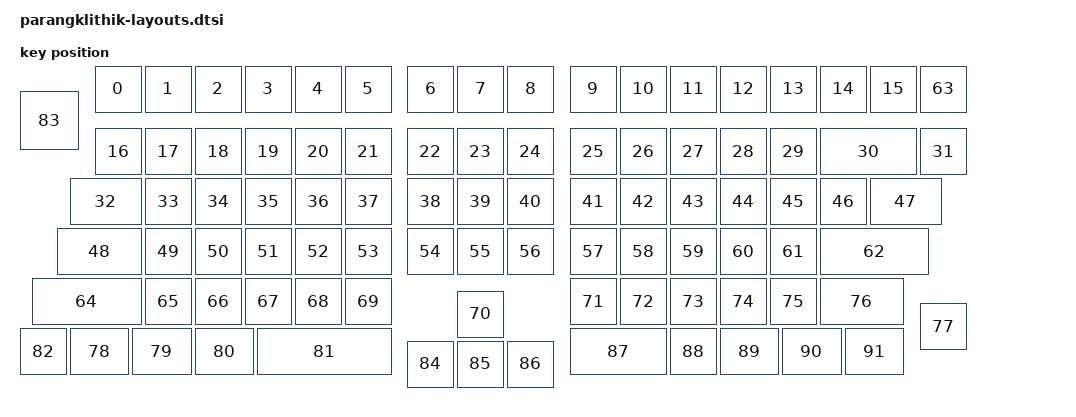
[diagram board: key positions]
#include <physical_layouts.dtsi>

/ {
    physical_layout_parangklithik: physical_layout_parangklithik {
        compatible = "zmk,physical-layout";
        display-name = "parangklithik";
        keys  //                     w   h    x    y     rot    rx    ry
            = <&key_physical_attrs 100 100  150    0       0     0     0>
            , <&key_physical_attrs 100 100  250    0       0     0     0>
            , <&key_physical_attrs 100 100  350    0       0     0     0>
            , <&key_physical_attrs 100 100  450    0       0     0     0>
            , <&key_physical_attrs 100 100  550    0       0     0     0>
            , <&key_physical_attrs 100 100  650    0       0     0     0>
            , <&key_physical_attrs 100 100  775    0       0     0     0>
            , <&key_physical_attrs 100 100  875    0       0     0     0>
            , <&key_physical_attrs 100 100  975    0       0     0     0>
            , <&key_physical_attrs 100 100 1100    0       0     0     0>
            , <&key_physical_attrs 100 100 1200    0       0     0     0>
            , <&key_physical_attrs 100 100 1300    0       0     0     0>
            , <&key_physical_attrs 100 100 1400    0       0     0     0>
            , <&key_physical_attrs 100 100 1500    0       0     0     0>
            , <&key_physical_attrs 100 100 1600    0       0     0     0>
            , <&key_physical_attrs 100 100 1700    0       0     0     0>
            , <&key_physical_attrs 100 100  150  125       0     0     0>
            , <&key_physical_attrs 100 100  250  125       0     0     0>
            , <&key_physical_attrs 100 100  350  125       0     0     0>
            , <&key_physical_attrs 100 100  450  125       0     0     0>
            , <&key_physical_attrs 100 100  550  125       0     0     0>
            , <&key_physical_attrs 100 100  650  125       0     0     0>
            , <&key_physical_attrs 100 100  775  125       0     0     0>
            , <&key_physical_attrs 100 100  875  125       0     0     0>
            , <&key_physical_attrs 100 100  975  125       0     0     0>
            , <&key_physical_attrs 100 100 1100  125       0     0     0>
            , <&key_physical_attrs 100 100 1200  125       0     0     0>
            , <&key_physical_attrs 100 100 1300  125       0     0     0>
            , <&key_physical_attrs 100 100 1400  125       0     0     0>
            , <&key_physical_attrs 100 100 1500  125       0     0     0>
            , <&key_physical_attrs 200 100 1600  125       0     0     0>
            , <&key_physical_attrs 100 100 1800  125       0     0     0>
            , <&key_physical_attrs 150 100  100  225       0     0     0>
            , <&key_physical_attrs 100 100  250  225       0     0     0>
            , <&key_physical_attrs 100 100  350  225       0     0     0>
            , <&key_physical_attrs 100 100  450  225       0     0     0>
            , <&key_physical_attrs 100 100  550  225       0     0     0>
            , <&key_physical_attrs 100 100  650  225       0     0     0>
            , <&key_physical_attrs 100 100  775  225       0     0     0>
            , <&key_physical_attrs 100 100  875  225       0     0     0>
            , <&key_physical_attrs 100 100  975  225       0     0     0>
            , <&key_physical_attrs 100 100 1100  225       0     0     0>
            , <&key_physical_attrs 100 100 1200  225       0     0     0>
            , <&key_physical_attrs 100 100 1300  225       0     0     0>
            , <&key_physical_attrs 100 100 1400  225       0     0     0>
            , <&key_physical_attrs 100 100 1500  225       0     0     0>
            , <&key_physical_attrs 100 100 1600  225       0     0     0>
            , <&key_physical_attrs 150 100 1700  225       0     0     0>
            , <&key_physical_attrs 175 100   75  325       0     0     0>
            , <&key_physical_attrs 100 100  250  325       0     0     0>
            , <&key_physical_attrs 100 100  350  325       0     0     0>
            , <&key_physical_attrs 100 100  450  325       0     0     0>
            , <&key_physical_attrs 100 100  550  325       0     0     0>
            , <&key_physical_attrs 100 100  650  325       0     0     0>
            , <&key_physical_attrs 100 100  775  325       0     0     0>
            , <&key_physical_attrs 100 100  875  325       0     0     0>
            , <&key_physical_attrs 100 100  975  325       0     0     0>
            , <&key_physical_attrs 100 100 1100  325       0     0     0>
            , <&key_physical_attrs 100 100 1200  325       0     0     0>
            , <&key_physical_attrs 100 100 1300  325       0     0     0>
            , <&key_physical_attrs 100 100 1400  325       0     0     0>
            , <&key_physical_attrs 100 100 1500  325       0     0     0>
            , <&key_physical_attrs 225 100 1600  325       0     0     0>
            , <&key_physical_attrs 100 100 1800    0       0     0     0>
            , <&key_physical_attrs 225 100   25  425       0     0     0>
            , <&key_physical_attrs 100 100  250  425       0     0     0>
            , <&key_physical_attrs 100 100  350  425       0     0     0>
            , <&key_physical_attrs 100 100  450  425       0     0     0>
            , <&key_physical_attrs 100 100  550  425       0     0     0>
            , <&key_physical_attrs 100 100  650  425       0     0     0>
            , <&key_physical_attrs 100 100  875  450       0     0     0>
            , <&key_physical_attrs 100 100 1100  425       0     0     0>
            , <&key_physical_attrs 100 100 1200  425       0     0     0>
            , <&key_physical_attrs 100 100 1300  425       0     0     0>
            , <&key_physical_attrs 100 100 1400  425       0     0     0>
            , <&key_physical_attrs 100 100 1500  425       0     0     0>
            , <&key_physical_attrs 175 100 1600  425       0     0     0>
            , <&key_physical_attrs 100 100 1800  475       0     0     0>
            , <&key_physical_attrs 125 100  100  525       0     0     0>
            , <&key_physical_attrs 125 100  225  525       0     0     0>
            , <&key_physical_attrs 125 100  350  525       0     0     0>
            , <&key_physical_attrs 275 100  475  525       0     0     0>
            , <&key_physical_attrs 100 100    0  525       0     0     0>
            , <&key_physical_attrs 125 125    0   50       0     0     0>
            , <&key_physical_attrs 100 100  775  550       0     0     0>
            , <&key_physical_attrs 100 100  875  550       0     0     0>
            , <&key_physical_attrs 100 100  975  550       0     0     0>
            , <&key_physical_attrs 200 100 1100  525       0     0     0>
            , <&key_physical_attrs 100 100 1300  525       0     0     0>
            , <&key_physical_attrs 125 100 1400  525       0     0     0>
            , <&key_physical_attrs 125 100 1525  525       0     0     0>
            , <&key_physical_attrs 125 100 1650  525       0     0     0>
            ;
    };
};
